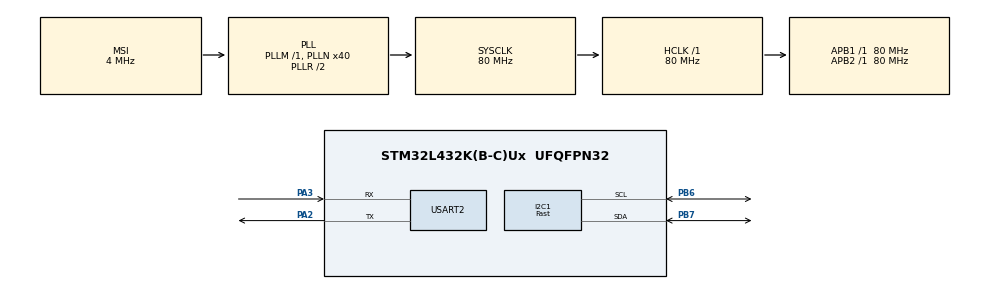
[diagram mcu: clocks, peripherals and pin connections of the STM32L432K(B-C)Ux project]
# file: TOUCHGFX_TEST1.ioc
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FREERTOS.Tasks01=defaultTask,24,128,StartDefaultTask,Default,NULL,Dynamic,NULL,NULL;Touch,24,1024,Touch_in,Default,NULL,Dynamic,NULL,NULL
FREERTOS.configTOTAL_HEAP_SIZE=10000
I2C1.CustomTiming=Disabled
I2C1.I2C_Speed_Mode=I2C_Fast
I2C1.Timing=0x00702991
Mcu.Family=STM32L4
Mcu.Name=STM32L432K(B-C)Ux
Mcu.Package=UFQFPN32
NVIC.PriorityGroup=NVIC_PRIORITYGROUP_4
NVIC.TIM1_UP_TIM16_IRQn=true\:4\:0\:true\:false\:true\:false\:false\:true\:true
NVIC.TIM6_DAC_IRQn=true\:5\:0\:false\:false\:true\:true\:true\:true\:true
NVIC.TimeBase=TIM1_UP_TIM16_IRQn
NVIC.TimeBaseIP=TIM1
PA13\ (JTMS-SWDIO).Mode=Serial_Wire
PA13\ (JTMS-SWDIO).Signal=SYS_JTMS-SWDIO
PA14\ (JTCK-SWCLK).Mode=Serial_Wire
PA14\ (JTCK-SWCLK).Signal=SYS_JTCK-SWCLK
PA2.Mode=Asynchronous
PA2.Signal=USART2_TX
PA3.Mode=Asynchronous
PA3.Signal=USART2_RX
PB6.Mode=I2C
PB6.Signal=I2C1_SCL
PB7.Mode=I2C
PB7.Signal=I2C1_SDA
ProjectManager.HeapSize=0x2000
ProjectManager.StackSize=0x4000
ProjectManager.TargetToolchain=STM32CubeIDE
RCC.AHBFreq_Value=80000000
RCC.APB1Freq_Value=80000000
RCC.APB1TimFreq_Value=80000000
RCC.APB2Freq_Value=80000000
RCC.APB2TimFreq_Value=80000000
RCC.CortexFreq_Value=80000000
RCC.HCLKFreq_Value=80000000
RCC.HSE_VALUE=8000000
RCC.HSI48_VALUE=48000000
RCC.HSI_VALUE=16000000
RCC.LSE_VALUE=32768
RCC.MSI_VALUE=4000000
RCC.PLLN=40
RCC.SYSCLKFreq_VALUE=80000000
RCC.SYSCLKSource=RCC_SYSCLKSOURCE_PLLCLK
RCC.VCOOutputFreq_Value=160000000
STMicroelectronics.X-CUBE-TOUCHGFX.4.21.4.ApplicationCcGraphicsJjApplication=TouchGFXOoGenerator
STMicroelectronics.X-CUBE-TOUCHGFX.4.21.4.tgfx_custom_height=64
STMicroelectronics.X-CUBE-TOUCHGFX.4.21.4.tgfx_custom_width=128
STMicroelectronics.X-CUBE-TOUCHGFX.4.21.4.tgfx_pixel_format=BW\:1
STMicroelectronics.X-CUBE-TOUCHGFX.4.21.4_IsPackSelfContextualization=true
TIM6.AutoReloadPreload=TIM_AUTORELOAD_PRELOAD_ENABLE
TIM6.Period=5000-1
TIM6.Prescaler=80-1
USART2.VirtualMode-Asynchronous=VM_ASYNC
VP_CRC_VS_CRC.Mode=CRC_Activate
VP_FREERTOS_VS_CMSIS_V2.Mode=CMSIS_V2
VP_STMicroelectronics.X-CUBE-TOUCHGFX_VS_GraphicsJjApplication_4.21.4.Mode=GraphicsJjApplication
VP_SYS_VS_tim1.Mode=TIM1
VP_TIM6_VS_ClockSourceINT.Mode=Enable_Timer
board=custom

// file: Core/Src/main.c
/* USER CODE BEGIN Header */
/**
  ******************************************************************************
  * @file           : main.c
  * @brief          : Main program body
  ******************************************************************************
  * @attention
  *
  * Copyright (c) 2024 STMicroelectronics.
  * All rights reserved.
  *
  * This software is licensed under terms that can be found in the LICENSE file
  * in the root directory of this software component.
  * If no LICENSE file comes with this software, it is provided AS-IS.
  *
  ******************************************************************************
  */
/* USER CODE END Header */
#include "main.h"
#include "cmsis_os.h"
#include "crc.h"
#include "i2c.h"
#include "tim.h"
#include "usart.h"
#include "gpio.h"
#include "app_touchgfx.h"

/* USER CODE BEGIN Includes */
#include "ssd1306.h"
#include "ssd1306_tests.h"
/* USER CODE END Includes */

/* USER CODE BEGIN PTD */
int seconds ;
int minutes;
int hours;
int tick = 0;
/* USER CODE END PTD */

void SystemClock_Config(void);
void MX_FREERTOS_Init(void);

int main(void)
{

  /* MCU Configuration--------------------------------------------------------*/

  /* Reset of all peripherals, Initializes the Flash interface and the Systick. */
  HAL_Init();

  /* Configure the system clock */
  SystemClock_Config();

  /* Initialize all configured peripherals */
  MX_GPIO_Init();
  MX_I2C1_Init();
  MX_USART2_UART_Init();
  MX_CRC_Init();
  MX_TIM6_Init();
  MX_TouchGFX_Init();
  /* Call PreOsInit function */
  MX_TouchGFX_PreOSInit();
  /* USER CODE BEGIN 2 */
  ssd1306_Init();

 // ssd1306_TestAll();
  HAL_TIM_Base_Start_IT(&htim6);
 // HAL_TIM_Base_Start_IT(&htim7);
  /* USER CODE END 2 */

  /* Init scheduler */
  osKernelInitialize();  /* Call init function for freertos objects (in freertos.c) */
  MX_FREERTOS_Init();

  /* Start scheduler */
  osKernelStart();
  /* We should never get here as control is now taken by the scheduler */
  /* Infinite loop */
  while (1)
  {

  }
}

void SystemClock_Config(void)
{
  RCC_OscInitTypeDef RCC_OscInitStruct = {0};
  RCC_ClkInitTypeDef RCC_ClkInitStruct = {0};

  /** Configure the main internal regulator output voltage
  */
  if (HAL_PWREx_ControlVoltageScaling(PWR_REGULATOR_VOLTAGE_SCALE1) != HAL_OK)
  {
    Error_Handler();
  }

  /** Initializes the RCC Oscillators according to the specified parameters
  * in the RCC_OscInitTypeDef structure.
  */
  RCC_OscInitStruct.OscillatorType = RCC_OSCILLATORTYPE_MSI;
  RCC_OscInitStruct.MSIState = RCC_MSI_ON;
  RCC_OscInitStruct.MSICalibrationValue = 0;
  RCC_OscInitStruct.MSIClockRange = RCC_MSIRANGE_6;
  RCC_OscInitStruct.PLL.PLLState = RCC_PLL_ON;
  RCC_OscInitStruct.PLL.PLLSource = RCC_PLLSOURCE_MSI;
  RCC_OscInitStruct.PLL.PLLM = 1;
  RCC_OscInitStruct.PLL.PLLN = 40;
  RCC_OscInitStruct.PLL.PLLP = RCC_PLLP_DIV7;
  RCC_OscInitStruct.PLL.PLLQ = RCC_PLLQ_DIV2;
  RCC_OscInitStruct.PLL.PLLR = RCC_PLLR_DIV2;
  if (HAL_RCC_OscConfig(&RCC_OscInitStruct) != HAL_OK)
  {
    Error_Handler();
  }

  /** Initializes the CPU, AHB and APB buses clocks
  */
  RCC_ClkInitStruct.ClockType = RCC_CLOCKTYPE_HCLK|RCC_CLOCKTYPE_SYSCLK
                              |RCC_CLOCKTYPE_PCLK1|RCC_CLOCKTYPE_PCLK2;
  RCC_ClkInitStruct.SYSCLKSource = RCC_SYSCLKSOURCE_PLLCLK;
  RCC_ClkInitStruct.AHBCLKDivider = RCC_SYSCLK_DIV1;
  RCC_ClkInitStruct.APB1CLKDivider = RCC_HCLK_DIV1;
  RCC_ClkInitStruct.APB2CLKDivider = RCC_HCLK_DIV1;

  if (HAL_RCC_ClockConfig(&RCC_ClkInitStruct, FLASH_LATENCY_4) != HAL_OK)
  {
    Error_Handler();
  }
}

/* USER CODE BEGIN 4 */

extern void touchgfxSignalVSync(void);

/* USER CODE END 4 */

void HAL_TIM_PeriodElapsedCallback(TIM_HandleTypeDef *htim)
{
  /* USER CODE BEGIN Callback 0 */
  if (htim->Instance == TIM6)
	{
		touchgfxSignalVSync();
	}

  /* USER CODE END Callback 0 */
  if (htim->Instance == TIM1) {
    HAL_IncTick();
  }
  /* USER CODE BEGIN Callback 1 */
  if (htim->Instance == TIM6)
	 {
	  	 if( tick == 2){

	  		if (++seconds >= 60)
			  {
				  seconds = 0;
				  if (++minutes >= 60)
				  {
					  minutes = 0;
					  if (++hours >= 24)
					  {
						  hours = 0;
					  }
				  }
			  }

	  		tick = 0;

	  	 }else{

	  		 tick++;
	  	 }

	 }

  /* USER CODE END Callback 1 */
}

void Error_Handler(void)
{
  __disable_irq();
  while (1)
  {
  }
}

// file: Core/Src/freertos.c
/* USER CODE BEGIN Header */
/**
  ******************************************************************************
  * File Name          : freertos.c
  * Description        : Code for freertos applications
  ******************************************************************************
  * @attention
  *
  * Copyright (c) 2024 STMicroelectronics.
  * All rights reserved.
  *
  * This software is licensed under terms that can be found in the LICENSE file
  * in the root directory of this software component.
  * If no LICENSE file comes with this software, it is provided AS-IS.
  *
  ******************************************************************************
  */
/* USER CODE END Header */

#include "FreeRTOS.h"
#include "task.h"
#include "main.h"
#include "cmsis_os.h"

/* Definitions for defaultTask */
osThreadId_t defaultTaskHandle;
const osThreadAttr_t defaultTask_attributes = {
  .name = "defaultTask",
  .stack_size = 128 * 4,
  .priority = (osPriority_t) osPriorityNormal,
};
/* Definitions for Touch */
osThreadId_t TouchHandle;
const osThreadAttr_t Touch_attributes = {
  .name = "Touch",
  .stack_size = 1024 * 4,
  .priority = (osPriority_t) osPriorityNormal,
};

void StartDefaultTask(void *argument);
void Touch_in(void *argument);

void MX_FREERTOS_Init(void); /* (MISRA C 2004 rule 8.1) */

void MX_FREERTOS_Init(void) {

  /* Create the thread(s) */
  /* creation of defaultTask */
  defaultTaskHandle = osThreadNew(StartDefaultTask, NULL, &defaultTask_attributes);

  /* creation of Touch */
  TouchHandle = osThreadNew(Touch_in, NULL, &Touch_attributes);

}

void StartDefaultTask(void *argument)
{
  for(;;)
  {
    osDelay(1);
  }
}

void Touch_in(void *argument)
{
  /* USER CODE BEGIN Touch_in */

   MX_TouchGFX_Process();

  /* Infinite loop */
  for(;;)
  {

    osDelay(1);
  }
  /* USER CODE END Touch_in */
}
